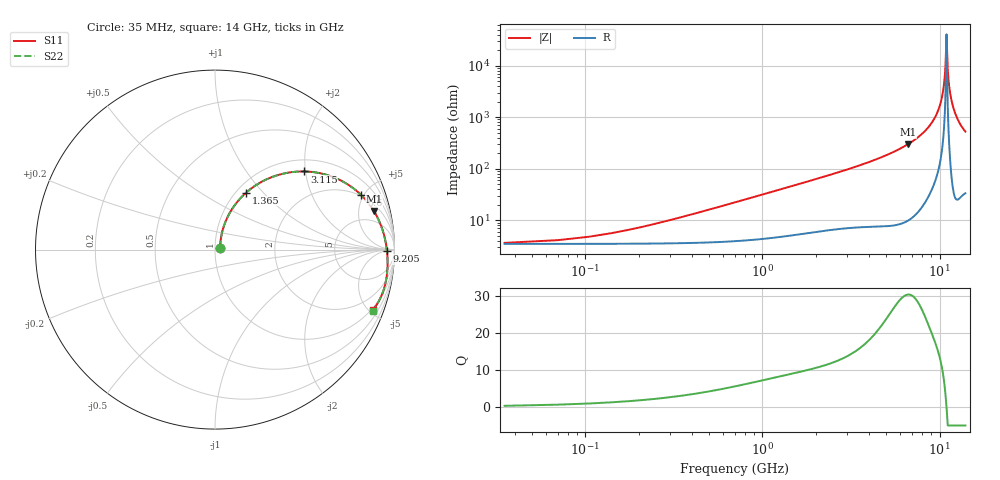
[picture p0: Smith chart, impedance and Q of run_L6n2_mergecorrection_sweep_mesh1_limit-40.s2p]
#  Hz  S  RI  R  50
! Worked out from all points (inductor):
!   400 points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, 35 MHz to 14 GHz, reference 50 ohm
!   read as one part in series: L = 4.96 nH near 350 MHz
!   highest Q = 30.4 at 6.615 GHz (marker M1), where L = 7.12 nH
!   self-resonance near 10.92 GHz
!   S11 on the Smith chart (normalised r, x): 35 MHz: 1.06, +0.02; 1.365 GHz: 1.11, +0.81; 3.115 GHz: 1.27, +1.97; 5.6 GHz: 1.94, +4.83; 9.205 GHz: 46, -7; 14 GHz: 0.87, -5.23
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3.5e7  0.0282 0.00981  0.961 -0.0106  0.961 -0.0106  0.0282 0.0098
2.45e8  0.0338 0.0682  0.9551 -0.0739  0.9551 -0.0739  0.0338 0.0682
4.9e8  0.0503 0.1337  0.9376 -0.145  0.9376 -0.145  0.0503 0.1337
1.365e9  0.1742 0.318  0.8073 -0.3452  0.8073 -0.3452  0.1742 0.3179
2.38e9  0.3649 0.4194  0.6099 -0.4585  0.6099 -0.4585  0.3649 0.4192
3.115e9  0.4971 0.4354  0.4752 -0.4818  0.4752 -0.4818  0.497 0.4352
4.69e9  0.7246 0.3724  0.2458 -0.4358  0.2458 -0.4358  0.7245 0.3722
5.6e9  0.816 0.3025  0.1534 -0.3768  0.1534 -0.3768  0.8159 0.3021
6.615e9  0.8859 0.2139  0.0821 -0.3008  0.0821 -0.3008  0.8858 0.2135
7.035e9  0.9064 0.1765  0.0609 -0.2686  0.0609 -0.2686  0.9063 0.1761
9.205e9  0.9581 -0.00625  0.00522 -0.1123  0.00522 -0.1123  0.9579 -0.00677
9.345e9  0.9592 -0.0173  0.00387 -0.103  0.00387 -0.103  0.959 -0.0178
1.008e10  0.9618 -0.0743  5.61e-05 -0.0551  5.62e-05 -0.0551  0.9615 -0.0748
1.0535e10  0.9608 -0.1089  0.000331 -0.0263  0.000331 -0.0263  0.9604 -0.1094
1.078e10  0.9593 -0.1273  0.00132 -0.011  0.00132 -0.011  0.959 -0.1279
1.0955e10  0.9579 -0.1404  0.0024 -0.000139  0.0024 -0.00014  0.9576 -0.141
1.106e10  0.9569 -0.1482  0.0032 0.00633  0.0032 0.00633  0.9565 -0.1488
1.12e10  0.9554 -0.1587  0.00445 0.0149  0.00445 0.0149  0.955 -0.1592
1.141e10  0.9526 -0.1742  0.00673 0.0277  0.00673 0.0277  0.9523 -0.1748
1.169e10  0.9482 -0.1946  0.0105 0.0445  0.0105 0.0445  0.9478 -0.1952
1.26e10  0.927 -0.2582  0.0292 0.0963  0.0292 0.0963  0.9266 -0.2589
1.4e10  0.8792 -0.339  0.0725 0.1601  0.0725 0.16  0.8787 -0.3396
